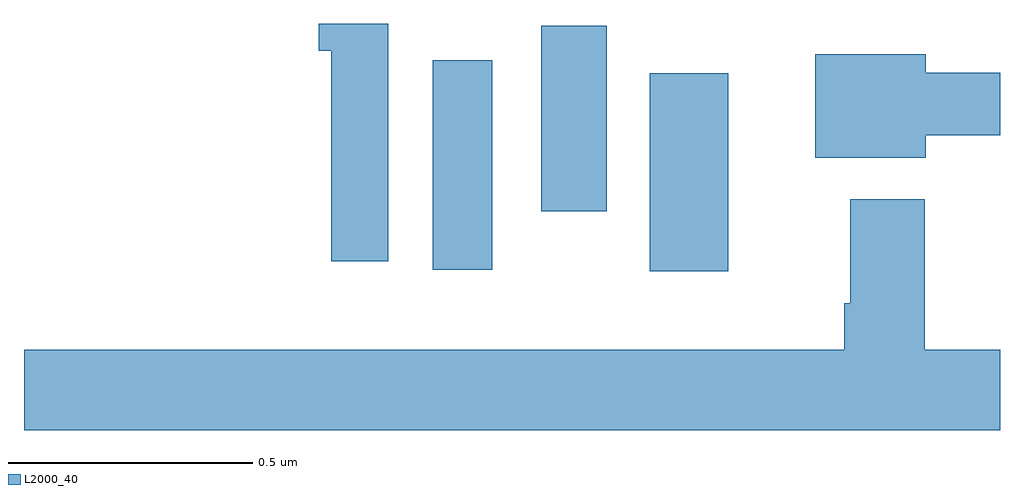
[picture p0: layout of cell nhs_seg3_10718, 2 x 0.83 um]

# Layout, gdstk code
import gdstk
lib = gdstk.Library(unit=1e-6, precision=1e-09)
def R(c, l, rs):  # rectangles x0, y0, x1, y1
    for r in rs: c.add(gdstk.rectangle(r[:2], r[2:], *l))
def P(c, l, *ps):  # polygons
    for p in ps: c.add(gdstk.Polygon(p, *l))
L2000_40 = (2000, 40)

nhs_seg3_10718 = lib.new_cell('nhs_seg3_10718')
R(nhs_seg3_10718, L2000_40, [(245.282,715.893,245.443,716.299), (244.838,715.896,244.96,716.326), (245.06,716.016,245.194,716.396)])
P(nhs_seg3_10718, L2000_40, [(244.746,716.4),(244.604,716.4),(244.604,716.345),(244.63,716.345),(244.63,715.914),(244.746,715.914)],
  [(245.848,716.172),(246,716.172),(246,716.3),(245.848,716.3),(245.848,716.338),(245.621,716.338),(245.621,716.126),(245.848,716.126)],
  [(246,715.732),(245.846,715.732),(245.846,716.041),(245.693,716.041),(245.693,715.828),(245.681,715.828),(245.681,715.732),(244,715.732),(244,715.568),(246,715.568)])

lib.write_gds('nhs_seg3_10718.gds')
